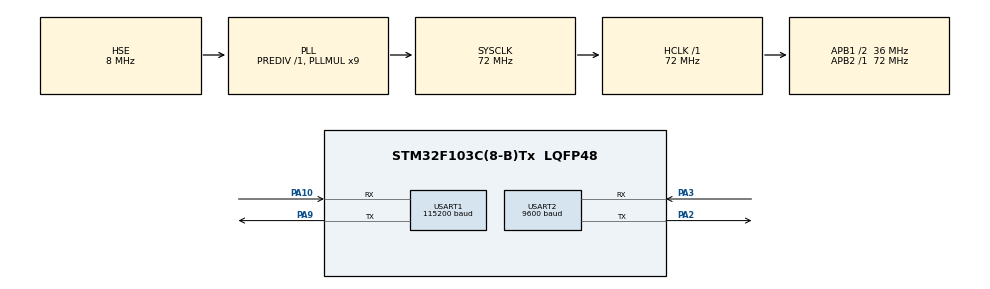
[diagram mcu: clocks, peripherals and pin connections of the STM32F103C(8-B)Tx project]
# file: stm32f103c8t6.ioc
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Mcu.Family=STM32F1
Mcu.Name=STM32F103C(8-B)Tx
Mcu.Package=LQFP48
NVIC.PriorityGroup=NVIC_PRIORITYGROUP_4
NVIC.USART2_IRQn=true\:0\:0\:false\:false\:true\:true\:true\:true
PA10.Mode=Asynchronous
PA10.Signal=USART1_RX
PA13.Mode=Serial_Wire
PA13.Signal=SYS_JTMS-SWDIO
PA14.Mode=Serial_Wire
PA14.Signal=SYS_JTCK-SWCLK
PA2.Mode=Asynchronous
PA2.Signal=USART2_TX
PA3.Mode=Asynchronous
PA3.Signal=USART2_RX
PA9.Mode=Asynchronous
PA9.Signal=USART1_TX
PD0-OSC_IN.Mode=HSE-External-Oscillator
PD0-OSC_IN.Signal=RCC_OSC_IN
PD1-OSC_OUT.Mode=HSE-External-Oscillator
PD1-OSC_OUT.Signal=RCC_OSC_OUT
ProjectManager.HeapSize=0x200
ProjectManager.StackSize=0x400
ProjectManager.TargetToolchain=STM32CubeIDE
RCC.AHBFreq_Value=72000000
RCC.APB1CLKDivider=RCC_HCLK_DIV2
RCC.APB1Freq_Value=36000000
RCC.APB1TimFreq_Value=72000000
RCC.APB2Freq_Value=72000000
RCC.APB2TimFreq_Value=72000000
RCC.HCLKFreq_Value=72000000
RCC.PLLMUL=RCC_PLL_MUL9
RCC.PLLSourceVirtual=RCC_PLLSOURCE_HSE
RCC.SYSCLKFreq_VALUE=72000000
RCC.SYSCLKSource=RCC_SYSCLKSOURCE_PLLCLK
RCC.USBFreq_Value=72000000
USART1.BaudRate=115200
USART1.VirtualMode=VM_ASYNC
USART2.BaudRate=9600
USART2.VirtualMode=VM_ASYNC
board=custom

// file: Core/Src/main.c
/* USER CODE BEGIN Header */
/**
  ******************************************************************************
  * @file           : main.c
  * @brief          : Main program body
  ******************************************************************************
  * @attention
  *
  * Copyright (c) 2024 STMicroelectronics.
  * All rights reserved.
  *
  * This software is licensed under terms that can be found in the LICENSE file
  * in the root directory of this software component.
  * If no LICENSE file comes with this software, it is provided AS-IS.
  *
  ******************************************************************************
  */
/* USER CODE END Header */
#include "main.h"

/* USER CODE BEGIN Includes */
#include "stdio.h"
#include "string.h"
#include "irtm.h"
/* USER CODE END Includes */

UART_HandleTypeDef huart1;
UART_HandleTypeDef huart2;

/* USER CODE BEGIN PV */
char buf[32];
int received = 0;
/* USER CODE END PV */

void SystemClock_Config(void);
static void MX_GPIO_Init(void);
static void MX_USART1_UART_Init(void);
static void MX_USART2_UART_Init(void);

/* USER CODE BEGIN 0 */
void HAL_UART_RxCpltCallback(UART_HandleTypeDef *huart) {
    if(huart->Instance == USART2) {
        if(IRTM_Read(&irtm) != 0) {
            received = 1;
        }
    }
}
/* USER CODE END 0 */

int main(void)
{

  /* MCU Configuration--------------------------------------------------------*/

  /* Reset of all peripherals, Initializes the Flash interface and the Systick. */
  HAL_Init();

  /* Configure the system clock */
  SystemClock_Config();

  /* Initialize all configured peripherals */
  MX_GPIO_Init();
  MX_USART1_UART_Init();
  MX_USART2_UART_Init();
  /* USER CODE BEGIN 2 */
    IRTM_Init(&irtm, &huart2);
    HAL_UART_Transmit(&huart1, (uint8_t *) "uart ok\r\n", strlen("uart ok\r\n"), 1000);
  /* USER CODE END 2 */

  /* Infinite loop */
  /* USER CODE BEGIN WHILE */
  while (1)
  {
      if(received) {
          sprintf(buf, "Received: %c\r\n", irtm.key);
          HAL_UART_Transmit(&huart1, (uint8_t *) buf, sizeof(buf), 1000);
          received = 0;
      }
    /* USER CODE END WHILE */

  }
}

void SystemClock_Config(void)
{
  RCC_OscInitTypeDef RCC_OscInitStruct = {0};
  RCC_ClkInitTypeDef RCC_ClkInitStruct = {0};

  /** Initializes the RCC Oscillators according to the specified parameters
  * in the RCC_OscInitTypeDef structure.
  */
  RCC_OscInitStruct.OscillatorType = RCC_OSCILLATORTYPE_HSE;
  RCC_OscInitStruct.HSEState = RCC_HSE_ON;
  RCC_OscInitStruct.HSEPredivValue = RCC_HSE_PREDIV_DIV1;
  RCC_OscInitStruct.HSIState = RCC_HSI_ON;
  RCC_OscInitStruct.PLL.PLLState = RCC_PLL_ON;
  RCC_OscInitStruct.PLL.PLLSource = RCC_PLLSOURCE_HSE;
  RCC_OscInitStruct.PLL.PLLMUL = RCC_PLL_MUL9;
  if (HAL_RCC_OscConfig(&RCC_OscInitStruct) != HAL_OK)
  {
    Error_Handler();
  }

  /** Initializes the CPU, AHB and APB buses clocks
  */
  RCC_ClkInitStruct.ClockType = RCC_CLOCKTYPE_HCLK|RCC_CLOCKTYPE_SYSCLK
                              |RCC_CLOCKTYPE_PCLK1|RCC_CLOCKTYPE_PCLK2;
  RCC_ClkInitStruct.SYSCLKSource = RCC_SYSCLKSOURCE_PLLCLK;
  RCC_ClkInitStruct.AHBCLKDivider = RCC_SYSCLK_DIV1;
  RCC_ClkInitStruct.APB1CLKDivider = RCC_HCLK_DIV2;
  RCC_ClkInitStruct.APB2CLKDivider = RCC_HCLK_DIV1;

  if (HAL_RCC_ClockConfig(&RCC_ClkInitStruct, FLASH_LATENCY_2) != HAL_OK)
  {
    Error_Handler();
  }
}

static void MX_USART1_UART_Init(void)
{

  huart1.Instance = USART1;
  huart1.Init.BaudRate = 115200;
  huart1.Init.WordLength = UART_WORDLENGTH_8B;
  huart1.Init.StopBits = UART_STOPBITS_1;
  huart1.Init.Parity = UART_PARITY_NONE;
  huart1.Init.Mode = UART_MODE_TX_RX;
  huart1.Init.HwFlowCtl = UART_HWCONTROL_NONE;
  huart1.Init.OverSampling = UART_OVERSAMPLING_16;
  if (HAL_UART_Init(&huart1) != HAL_OK)
  {
    Error_Handler();
  }

}

static void MX_USART2_UART_Init(void)
{

  huart2.Instance = USART2;
  huart2.Init.BaudRate = 9600;
  huart2.Init.WordLength = UART_WORDLENGTH_8B;
  huart2.Init.StopBits = UART_STOPBITS_1;
  huart2.Init.Parity = UART_PARITY_NONE;
  huart2.Init.Mode = UART_MODE_TX_RX;
  huart2.Init.HwFlowCtl = UART_HWCONTROL_NONE;
  huart2.Init.OverSampling = UART_OVERSAMPLING_16;
  if (HAL_UART_Init(&huart2) != HAL_OK)
  {
    Error_Handler();
  }

}

static void MX_GPIO_Init(void)
{

  /* GPIO Ports Clock Enable */
  __HAL_RCC_GPIOD_CLK_ENABLE();
  __HAL_RCC_GPIOA_CLK_ENABLE();

}

void Error_Handler(void)
{
  __disable_irq();
  while (1)
  {
  }
}
